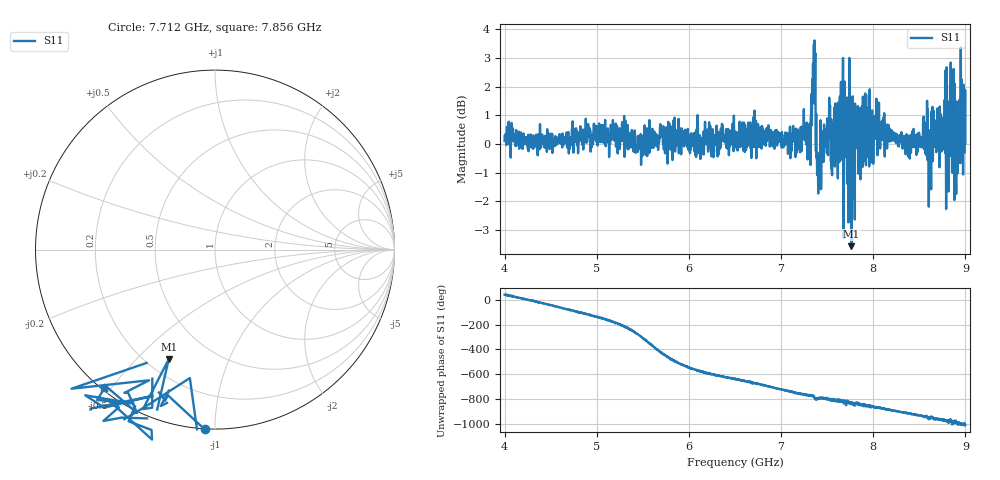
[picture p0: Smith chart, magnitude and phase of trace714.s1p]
! Created with skrf 1.8.0 (http://scikit-rf.org).
# Hz S RI R 50.0
!freq ReS11 ImS11
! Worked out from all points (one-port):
!   1601 points, 4 GHz to 9 GHz, reference 50 ohm
!   lowest |S11| = -3.6 dB at 7.762 GHz (marker M1), VSWR 4.93, Z = 14.3 - j31.2 ohm
!   |S11| at or under -10 dB: nowhere
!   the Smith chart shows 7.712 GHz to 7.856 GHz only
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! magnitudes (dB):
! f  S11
! 4 GHz  0.1
! 4.625 GHz  -0.1
! 5.25 GHz  -0.2
! 5.875 GHz  0.0
! 6.5 GHz  0.0
! 7.125 GHz  0.4
! 7.294 GHz  0.0
! 7.347 GHz  2.8
! 7.362 GHz  3.6
! 7.4 GHz  -0.7
! 7.409 GHz  -0.6
! 7.512 GHz  0.8
! 7.609 GHz  1.0
! 7.65 GHz  2.2
! 7.75 GHz  -0.7
! 7.762 GHz  -3.6
! 7.775 GHz  1.4
! 7.828 GHz  0.6
! 7.875 GHz  -0.2
! 8.038 GHz  0.3
! 8.375 GHz  -0.1
! 8.566 GHz  -0.2
! 8.612 GHz  -0.7
! 8.656 GHz  1.2
! 8.819 GHz  -0.7
! 8.875 GHz  0.2
! 8.956 GHz  0.4
! 9 GHz  0.0
